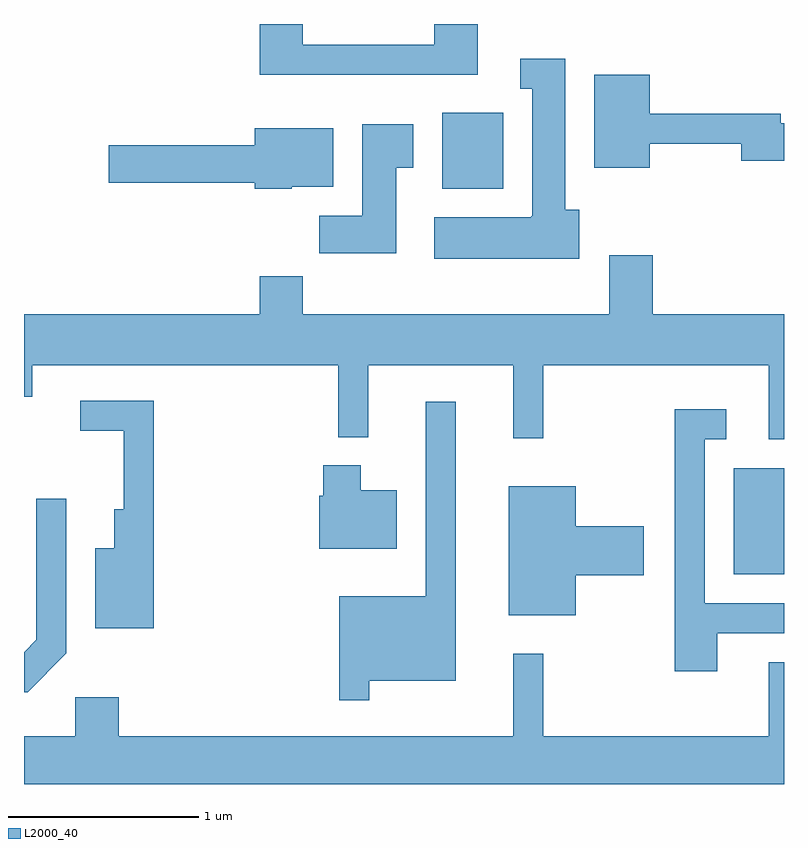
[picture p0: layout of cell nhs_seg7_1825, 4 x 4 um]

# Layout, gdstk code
import gdstk
lib = gdstk.Library(unit=1e-6, precision=1e-09)
def R(c, l, rs):  # rectangles x0, y0, x1, y1
    for r in rs: c.add(gdstk.rectangle(r[:2], r[2:], *l))
def P(c, l, *ps):  # polygons
    for p in ps: c.add(gdstk.Polygon(p, *l))
L2000_40 = (2000, 40)

nhs_seg7_1825 = lib.new_cell('nhs_seg7_1825')
R(nhs_seg7_1825, L2000_40, [(243.346,1795.356,243.611,1795.914), (241.811,1797.386,242.134,1797.784)])
P(nhs_seg7_1825, L2000_40, [(241.999,1798.252),(241.771,1798.252),(241.771,1798.144),(241.079,1798.144),(241.079,1798.252),(240.851,1798.252),(240.851,1797.986),(241.999,1797.986)],
  [(242.534,1797.274),(242.459,1797.274),(242.459,1798.069),(242.223,1798.069),(242.223,1797.911),(242.286,1797.911),(242.286,1797.24),(242.28,1797.24),(242.28,1797.234),(241.771,1797.234),(241.771,1797.016),(242.534,1797.016)],
  [(242.904,1797.621),(243.386,1797.621),(243.386,1797.531),(243.611,1797.531),(243.611,1797.729),(243.594,1797.729),(243.594,1797.779),(242.904,1797.779),(242.904,1797.984),(242.611,1797.984),(242.611,1797.496),(242.904,1797.496)],
  [(241.569,1797.496),(241.659,1797.496),(241.659,1797.724),(241.391,1797.724),(241.391,1797.244),(241.166,1797.244),(241.166,1797.046),(241.569,1797.046)],
  [(241.02,1797.396),(241.239,1797.396),(241.239,1797.704),(240.826,1797.704),(240.826,1797.614),(240.056,1797.614),(240.056,1797.416),(240.826,1797.416),(240.826,1797.386),(241.02,1797.386)],
  [(243.611,1796.724),(242.919,1796.724),(242.919,1797.034),(242.691,1797.034),(242.691,1796.724),(241.079,1796.724),(241.079,1796.924),(240.851,1796.924),(240.851,1796.724),(239.611,1796.724),(239.611,1796.291),(239.654,1796.291),(239.654,1796.456),(241.266,1796.456),(241.266,1796.078),(241.424,1796.078),(241.424,1796.456),(242.186,1796.456),(242.186,1796.073),(242.344,1796.073),(242.344,1796.456),(243.531,1796.456),(243.531,1796.066),(243.611,1796.066)],
  [(240.294,1796.269),(239.908,1796.269),(239.908,1796.111),(240.136,1796.111),(240.136,1795.699),(240.086,1795.699),(240.086,1795.494),(239.986,1795.494),(239.986,1795.071),(240.294,1795.071)],
  [(241.429,1794.796),(241.884,1794.796),(241.884,1796.263),(241.726,1796.263),(241.726,1795.239),(241.271,1795.239),(241.271,1794.693),(241.429,1794.693)],
  [(243.259,1795.046),(243.611,1795.046),(243.611,1795.204),(243.194,1795.204),(243.194,1796.066),(243.308,1796.066),(243.308,1796.224),(243.036,1796.224),(243.036,1794.846),(243.259,1794.846)],
  [(241.574,1795.799),(241.384,1795.799),(241.384,1795.929),(241.186,1795.929),(241.186,1795.769),(241.166,1795.769),(241.166,1795.491),(241.574,1795.491)],
  [(242.514,1795.351),(242.874,1795.351),(242.874,1795.609),(242.514,1795.609),(242.514,1795.819),(242.161,1795.819),(242.161,1795.141),(242.514,1795.141)],
  [(239.834,1794.939),(239.834,1795.753),(239.676,1795.753),(239.676,1795.012),(239.611,1794.946),(239.611,1794.736),(239.632,1794.736)],
  [(243.611,1794.894),(243.531,1794.894),(243.531,1794.504),(242.344,1794.504),(242.344,1794.938),(242.186,1794.938),(242.186,1794.504),(240.109,1794.504),(240.109,1794.709),(239.881,1794.709),(239.881,1794.504),(239.611,1794.504),(239.611,1794.252),(243.611,1794.252)])

lib.write_gds('nhs_seg7_1825.gds')
